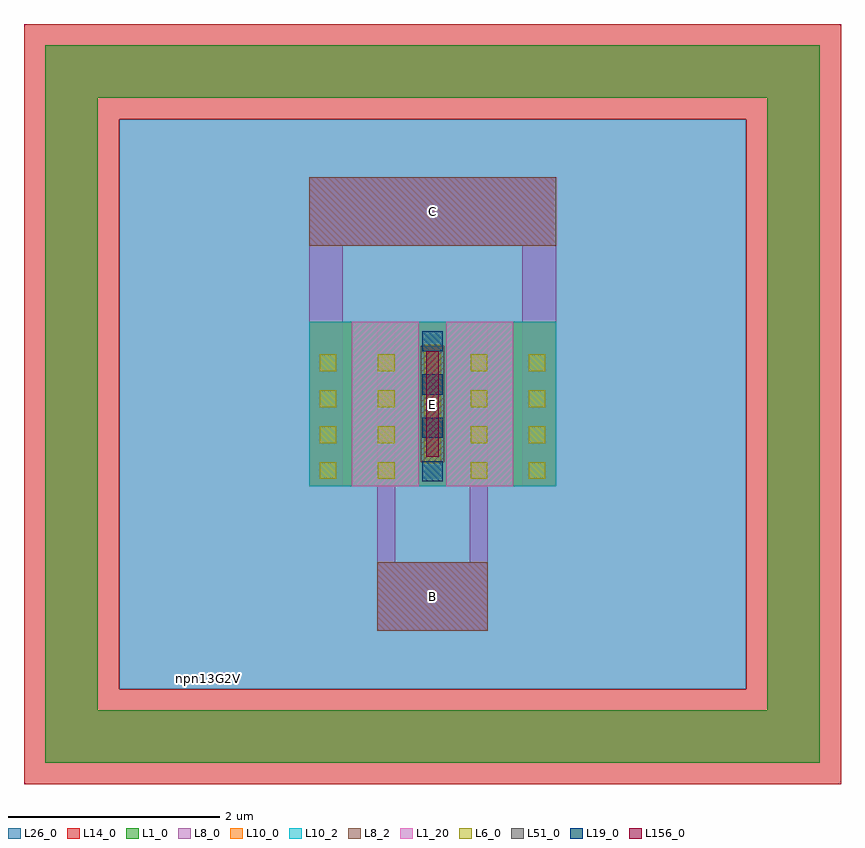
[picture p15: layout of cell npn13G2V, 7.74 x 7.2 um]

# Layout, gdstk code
import gdstk
lib = gdstk.Library(unit=1e-6, precision=1e-09)
def R(c, l, rs):  # rectangles x0, y0, x1, y1
    for r in rs: c.add(gdstk.rectangle(r[:2], r[2:], *l))
def A(c, l, x, y, w, h, nx, ny, dx, dy):  # array of equal rectangles
    R(c, l, [(x+i*dx, y+j*dy, x+i*dx+w, y+j*dy+h) for i in range(nx) for j in range(ny)])
def P(c, l, *ps):  # polygons
    for p in ps: c.add(gdstk.Polygon(p, *l))
L1_0 = (1, 0)
L1_20 = (1, 20)
L6_0 = (6, 0)
L8_0 = (8, 0)
L8_2 = (8, 2)
L10_0 = (10, 0)
L10_2 = (10, 2)
L14_0 = (14, 0)
L19_0 = (19, 0)
L26_0 = (26, 0)
L51_0 = (51, 0)
L156_0 = (156, 0)

npn13g2v = lib.new_cell('npn13G2V')
R(npn13g2v, L1_0, [(2.7,2.82,3.105,4.38), (3.74,2.82,4,4.38), (4.635,2.82,5.04,4.38)])
P(npn13g2v, L1_0, [(0.2,0.2),(0.2,7),(7.04,7),(7.04,6.5),(0.7,6.5),(0.7,0.7),(7.04,0.7),(7.04,7),(7.54,7),(7.54,0.2)])
R(npn13g2v, L1_20, [(3.105,2.82,3.74,4.38), (4,2.82,4.635,4.38)])
A(npn13g2v, L6_0, 2.8, 2.89, 0.16, 0.16, 1, 4, 0, 0.34)
A(npn13g2v, L6_0, 3.35, 2.89, 0.16, 0.16, 1, 4, 0, 0.34)
A(npn13g2v, L6_0, 4.23, 2.89, 0.16, 0.16, 1, 4, 0, 0.34)
A(npn13g2v, L6_0, 4.78, 2.89, 0.16, 0.16, 1, 4, 0, 0.34)
R(npn13g2v, L6_0, [(3.79,3.04,3.95,4.16)])
R(npn13g2v, L8_0, [(3.345,1.45,4.395,2.1), (3.345,2.1,3.515,4.38), (4.225,2.1,4.395,4.38), (2.7,2.82,3.02,5.1), (3.74,2.82,4,4.38), (4.72,2.82,5.04,5.1), (2.7,5.1,5.04,5.75)])
R(npn13g2v, L8_2, [(3.345,1.45,4.395,2.1), (2.7,5.1,5.04,5.75)])
R(npn13g2v, L10_0, [(2.7,2.82,5.04,4.38)])
R(npn13g2v, L10_2, [(2.7,2.82,5.04,4.38)])
P(npn13g2v, L14_0, [(0,0),(0,7.2),(6.84,7.2),(6.84,6.3),(0.9,6.3),(0.9,0.9),(6.84,0.9),(6.84,7.2),(7.74,7.2),(7.74,0)])
A(npn13g2v, L19_0, 3.775, 2.87, 0.19, 0.19, 1, 4, 0, 0.41)
R(npn13g2v, L26_0, [(0.9,0.9,6.84,6.3)])
R(npn13g2v, L51_0, [(3.76,3.05,3.98,4.15)])
R(npn13g2v, L156_0, [(3.81,3.1,3.93,4.1)])
npn13g2v.add(gdstk.Label('E', (3.87,3.6), layer=63, texttype=0))
npn13g2v.add(gdstk.Label('B', (3.87,1.775), layer=63, texttype=0))
npn13g2v.add(gdstk.Label('C', (3.87,5.425), layer=63, texttype=0))
npn13g2v.add(gdstk.Label('npn13G2V', (1.75,1), layer=63, texttype=0))
npn13g2v.add(gdstk.Label('Ae=1*1.00*0.12', (1.5,1), layer=63, texttype=0))
npn13g2v.add(gdstk.Label('npn13G2V', (3.87,3.6), layer=51, texttype=0))

lib.write_gds('npn13G2V.gds')
